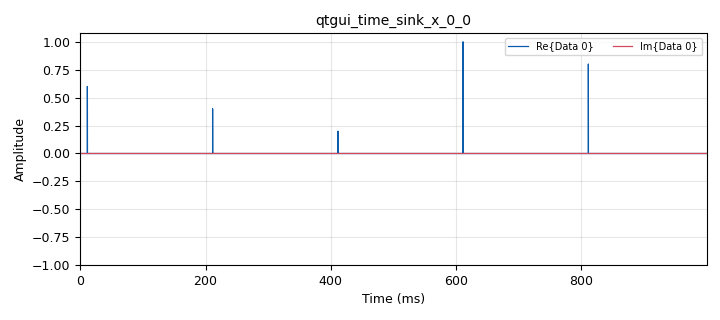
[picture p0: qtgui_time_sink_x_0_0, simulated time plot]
<?xml version='1.0' encoding='utf-8'?>
<?grc format='1' created='3.7.13'?>
<flow_graph>
<block>
<key>options</key>
<param><key>id</key><value>top_block</value></param>
<param><key>generate_options</key><value>qt_gui</value></param>
</block>
<block>
<key>variable</key>
<param><key>id</key><value>bw</value></param>
<param><key>value</key><value>0.5e6</value></param>
</block>
<block>
<key>variable_qtgui_range</key>
<param><key>id</key><value>f</value></param>
<param><key>value</key><value>433e6</value></param>
<param><key>orient</key><value>Qt.Horizontal</value></param>
<param><key>start</key><value>10e6</value></param>
<param><key>step</key><value>10e6</value></param>
<param><key>stop</key><value>3.8e9</value></param>
</block>
<block>
<key>variable_qtgui_range</key>
<param><key>id</key><value>gain</value></param>
<param><key>value</key><value>30</value></param>
<param><key>orient</key><value>Qt.Horizontal</value></param>
<param><key>start</key><value>0</value></param>
<param><key>step</key><value>1</value></param>
<param><key>stop</key><value>60</value></param>
<param><key>rangeType</key><value>int</value></param>
</block>
<block>
<key>variable</key>
<param><key>id</key><value>vec_len</value></param>
<param><key>value</key><value>5</value></param>
</block>
<block>
<key>analog_sig_source_x</key>
<param><key>id</key><value>analog_sig_source_x_0</value></param>
<param><key>amp</key><value>1</value></param>
<param><key>_enabled</key><value>0</value></param>
<param><key>freq</key><value>10000</value></param>
<param><key>offset</key><value>0</value></param>
<param><key>type</key><value>complex</value></param>
<param><key>samp_rate</key><value>bw</value></param>
<param><key>waveform</key><value>analog.GR_COS_WAVE</value></param>
</block>
<block>
<key>blocks_throttle</key>
<param><key>id</key><value>blocks_throttle_0</value></param>
<param><key>_enabled</key><value>2</value></param>
<param><key>samples_per_second</key><value>bw</value></param>
<param><key>type</key><value>complex</value></param>
</block>
<block>
<key>blocks_vector_source_x</key>
<param><key>id</key><value>blocks_vector_source_x_0</value></param>
<param><key>type</key><value>complex</value></param>
<param><key>repeat</key><value>True</value></param>
<param><key>vector</key><value>(1,0.8,0.6,0.4,0.2)</value></param>
</block>
<block>
<key>interp_fir_filter_xxx</key>
<param><key>id</key><value>interp_fir_filter_xxx_0</value></param>
<param><key>interp</key><value>int(bw/vec_len)-1</value></param>
<param><key>taps</key><value>1</value></param>
<param><key>type</key><value>ccc</value></param>
</block>
<block>
<key>limesdr_sink</key>
<param><key>id</key><value>limesdr_sink_0</value></param>
<param><key>allow_tcxo_dac</key><value>0</value></param>
<param><key>analog_bandw_ch0</key><value>0</value></param>
<param><key>calibr_bandw_ch0</key><value>5e6</value></param>
<param><key>digital_bandw_ch0</key><value>0</value></param>
<param><key>gain_dB_ch0</key><value>gain</value></param>
<param><key>calibr_bandw_ch1</key><value>5e6</value></param>
<param><key>digital_bandw_ch1</key><value>0</value></param>
<param><key>gain_dB_ch1</key><value>30</value></param>
<param><key>pa_path_ch1</key><value>1</value></param>
<param><key>channel_mode</key><value>0</value></param>
<param><key>serial</key><value>1D4C2E9C8A3A58</value></param>
<param><key>oversample</key><value>0</value></param>
<param><key>rf_freq</key><value>f</value></param>
<param><key>samp_rate</key><value>bw</value></param>
<param><key>dacVal</key><value>125</value></param>
</block>
<block>
<key>limesdr_source</key>
<param><key>id</key><value>limesdr_source_0</value></param>
<param><key>allow_tcxo_dac</key><value>0</value></param>
<param><key>analog_bandw_ch0</key><value>0</value></param>
<param><key>calibr_bandw_ch0</key><value>0</value></param>
<param><key>digital_bandw_ch0</key><value>0</value></param>
<param><key>gain_dB_ch0</key><value>gain</value></param>
<param><key>lna_path_ch0</key><value>3</value></param>
<param><key>analog_bandw_ch1</key><value>5e6</value></param>
<param><key>calibr_bandw_ch1</key><value>5e6</value></param>
<param><key>digital_bandw_ch1</key><value>0</value></param>
<param><key>gain_dB_ch1</key><value>30</value></param>
<param><key>channel_mode</key><value>0</value></param>
<param><key>serial</key><value>1D4C2E9C8A3A58</value></param>
<param><key>oversample</key><value>0</value></param>
<param><key>rf_freq</key><value>f</value></param>
<param><key>samp_rate</key><value>bw</value></param>
<param><key>dacVal</key><value>125</value></param>
</block>
<block>
<key>qtgui_sink_x</key>
<param><key>id</key><value>qtgui_sink_x_0</value></param>
<param><key>bw</key><value>bw</value></param>
<param><key>fc</key><value>0</value></param>
<param><key>freqchangevar</key><value>None</value></param>
<param><key>_enabled</key><value>0</value></param>
<param><key>fftsize</key><value>1024</value></param>
<param><key>showports</key><value>True</value></param>
<param><key>type</key><value>complex</value></param>
<param><key>wintype</key><value>firdes.WIN_BLACKMAN_hARRIS</value></param>
</block>
<block>
<key>qtgui_time_sink_x</key>
<param><key>id</key><value>qtgui_time_sink_x_0</value></param>
<param><key>color1</key><value>"blue"</value></param>
<param><key>label1</key><value></value></param>
<param><key>color2</key><value>"red"</value></param>
<param><key>label2</key><value></value></param>
<param><key>size</key><value>int(bw)</value></param>
<param><key>srate</key><value>bw</value></param>
<param><key>type</key><value>complex</value></param>
</block>
<block>
<key>qtgui_time_sink_x</key>
<param><key>id</key><value>qtgui_time_sink_x_0_0</value></param>
<param><key>color1</key><value>"blue"</value></param>
<param><key>label1</key><value></value></param>
<param><key>color2</key><value>"red"</value></param>
<param><key>label2</key><value></value></param>
<param><key>size</key><value>int(bw)</value></param>
<param><key>srate</key><value>bw</value></param>
<param><key>type</key><value>complex</value></param>
</block>
<connection><source_block_id>blocks_throttle_0</source_block_id><sink_block_id>limesdr_sink_0</sink_block_id><source_key>0</source_key><sink_key>0</sink_key></connection>
<connection><source_block_id>blocks_throttle_0</source_block_id><sink_block_id>qtgui_time_sink_x_0_0</sink_block_id><source_key>0</source_key><sink_key>0</sink_key></connection>
<connection><source_block_id>blocks_vector_source_x_0</source_block_id><sink_block_id>interp_fir_filter_xxx_0</sink_block_id><source_key>0</source_key><sink_key>0</sink_key></connection>
<connection><source_block_id>interp_fir_filter_xxx_0</source_block_id><sink_block_id>blocks_throttle_0</sink_block_id><source_key>0</source_key><sink_key>0</sink_key></connection>
<connection><source_block_id>limesdr_source_0</source_block_id><sink_block_id>qtgui_sink_x_0</sink_block_id><source_key>0</source_key><sink_key>0</sink_key></connection>
<connection><source_block_id>limesdr_source_0</source_block_id><sink_block_id>qtgui_time_sink_x_0</sink_block_id><source_key>0</source_key><sink_key>0</sink_key></connection>
</flow_graph>
